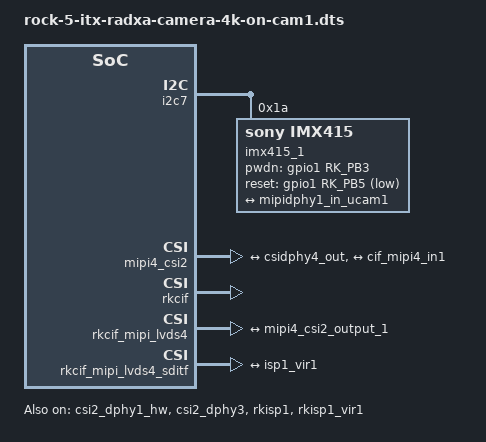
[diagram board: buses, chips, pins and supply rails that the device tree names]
/dts-v1/;
/plugin/;

#include <dt-bindings/clock/rk3588-cru.h>
#include <dt-bindings/power/rk3588-power.h>
#include <dt-bindings/gpio/gpio.h>
#include <dt-bindings/pinctrl/rockchip.h>

/ {
	metadata {
		title ="Enable Radxa Camera 4K on CAM1";
		compatible = "radxa,rock-5-itx";
		category = "camera";
		exclusive = "csi2_dphy3";
		description = "Enable Radxa Camera 4K on CAM1.";
	};
};

&i2c7 {
	status = "okay";
	#address-cells = <1>;
	#size-cells = <0>;

	imx415_1: imx415-1@1a {
		status = "okay";
		compatible = "sony,imx415";
		reg = <0x1a>;
		clocks = <&cru CLK_MIPI_CAMARAOUT_M4>;
		clock-names = "xvclk";
		pinctrl-names = "default";
		pinctrl-0 = <&mipim0_camera4_clk>;
		power-domains = <&power RK3588_PD_VI>;
		pwdn-gpios = <&gpio1 RK_PB3 GPIO_ACTIVE_HIGH>;
		reset-gpios = <&gpio1 RK_PB5 GPIO_ACTIVE_LOW>;
		rockchip,camera-module-index = <1>;
		rockchip,camera-module-facing = "front";
		rockchip,camera-module-name = "RADXA-CAMERA-4K";
		rockchip,camera-module-lens-name = "DEFAULT";
		port {
			imx415_out1: endpoint {
				remote-endpoint = <&mipidphy1_in_ucam1>;
				data-lanes = <1 2 3 4>;
			};
		};
	};
};

&csi2_dphy1_hw {
	status = "okay";
};

&csi2_dphy3 {
	status = "okay";

	ports {
		#address-cells = <1>;
		#size-cells = <0>;

		port@0 {
			reg = <0>;
			#address-cells = <1>;
			#size-cells = <0>;

			mipidphy1_in_ucam1: endpoint@1 {
				reg = <1>;
				remote-endpoint = <&imx415_out1>;
				data-lanes = <1 2 3 4>;
			};
		};

		port@1 {
			reg = <1>;
			#address-cells = <1>;
			#size-cells = <0>;

			csidphy4_out: endpoint@0 {
				reg = <0>;
				remote-endpoint = <&mipi4_csi2_input_1>;
			};
		};
	};
};

&mipi4_csi2 {
	status = "okay";

	ports {
		#address-cells = <1>;
		#size-cells = <0>;

		port@0 {
			reg = <0>;
			#address-cells = <1>;
			#size-cells = <0>;

			mipi4_csi2_input_1: endpoint@1 {
				reg = <1>;
				remote-endpoint = <&csidphy4_out>;
			};
		};

		port@1 {
			reg = <1>;
			#address-cells = <1>;
			#size-cells = <0>;

			mipi4_csi2_output_1: endpoint@0 {
				reg = <0>;
				remote-endpoint = <&cif_mipi4_in1>;
			};
		};
	};
};

&rkcif {
	status = "okay";
};

&rkcif_mipi_lvds4 {
	status = "okay";

	port {
		cif_mipi4_in1: endpoint {
			remote-endpoint = <&mipi4_csi2_output_1>;
		};
	};
};

&rkcif_mipi_lvds4_sditf {
	status = "okay";

	port {
		mipi4_lvds2_sditf_1: endpoint {
			remote-endpoint = <&isp1_vir1>;
		};
	};
};

&rkcif_mmu {
	status = "okay";
};

&isp1_mmu {
	status = "okay";
};

&rkisp1 {
	status = "okay";
};

&rkisp1_vir1 {
	status = "okay";

	port {
		#address-cells = <1>;
		#size-cells = <0>;

		isp1_vir1: endpoint@0 {
			reg = <0>;
			remote-endpoint = <&mipi4_lvds2_sditf_1>;
		};
	};
};
